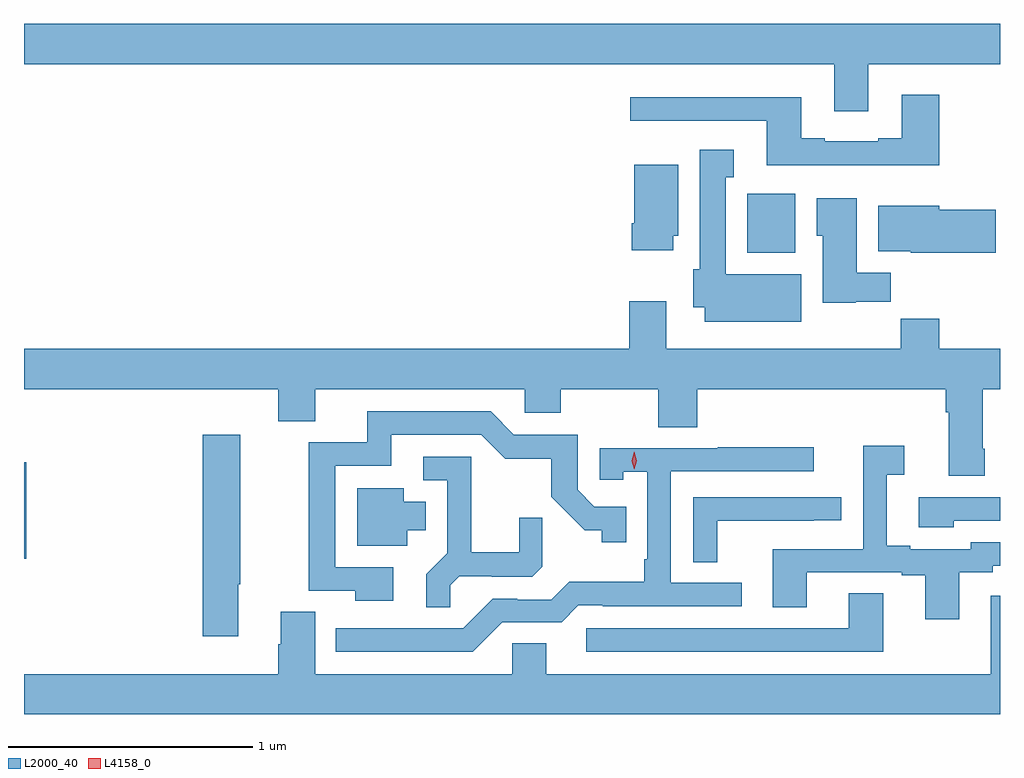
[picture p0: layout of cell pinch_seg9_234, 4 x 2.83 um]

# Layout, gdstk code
import gdstk
lib = gdstk.Library(unit=1e-6, precision=1e-09)
def R(c, l, rs):  # rectangles x0, y0, x1, y1
    for r in rs: c.add(gdstk.rectangle(r[:2], r[2:], *l))
def P(c, l, *ps):  # polygons
    for p in ps: c.add(gdstk.Polygon(p, *l))
L2000_40 = (2000, 40)
L4158_0 = (4158, 0)

pinch_seg9_234 = lib.new_cell('pinch_seg9_234')
R(pinch_seg9_234, L2000_40, [(431.684,1221.033,431.693,1221.427), (434.648,1222.286,434.845,1222.528)])
P(pinch_seg9_234, L2000_40, [(435.145,1223.06),(435.684,1223.06),(435.684,1223.224),(431.684,1223.224),(431.684,1223.06),(435.005,1223.06),(435.005,1222.866),(435.145,1222.866)],
  [(435.434,1222.933),(435.281,1222.933),(435.281,1222.756),(435.185,1222.756),(435.185,1222.743),(434.965,1222.743),(434.965,1222.756),(434.869,1222.756),(434.869,1222.924),(434.169,1222.924),(434.169,1222.827),(434.729,1222.827),(434.729,1222.646),(435.434,1222.646)],
  [(434.869,1222.198),(434.56,1222.198),(434.56,1222.595),(434.593,1222.595),(434.593,1222.708),(434.453,1222.708),(434.453,1222.218),(434.426,1222.218),(434.426,1222.064),(434.474,1222.064),(434.474,1222.004),(434.869,1222.004)],
  [(434.344,1222.356),(434.365,1222.356),(434.365,1222.648),(434.186,1222.648),(434.186,1222.408),(434.174,1222.408),(434.174,1222.296),(434.344,1222.296)],
  [(435.093,1222.086),(435.236,1222.086),(435.236,1222.204),(435.097,1222.204),(435.097,1222.51),(434.933,1222.51),(434.933,1222.356),(434.957,1222.356),(434.957,1222.082),(435.093,1222.082)],
  [(435.667,1222.463),(435.436,1222.463),(435.436,1222.48),(435.185,1222.48),(435.185,1222.292),(435.318,1222.292),(435.318,1222.286),(435.667,1222.286)],
  [(435.621,1221.484),(435.613,1221.484),(435.613,1221.728),(435.684,1221.728),(435.684,1221.892),(435.434,1221.892),(435.434,1222.016),(435.277,1222.016),(435.277,1221.892),(434.317,1221.892),(434.317,1222.087),(434.165,1222.087),(434.165,1221.892),(431.684,1221.892),(431.684,1221.728),(432.725,1221.728),(432.725,1221.595),(432.877,1221.595),(432.877,1221.728),(433.737,1221.728),(433.737,1221.63),(433.884,1221.63),(433.884,1221.728),(434.284,1221.728),(434.284,1221.571),(434.444,1221.571),(434.444,1221.728),(435.461,1221.728),(435.461,1221.632),(435.473,1221.632),(435.473,1221.372),(435.621,1221.372)],
  [(433.198,1220.997),(432.96,1220.997),(432.96,1221.414),(433.189,1221.414),(433.189,1221.54),(433.557,1221.54),(433.656,1221.442),(433.845,1221.442),(433.845,1221.286),(433.982,1221.149),(434.052,1221.149),(434.052,1221.099),(434.153,1221.099),(434.153,1221.246),(434.022,1221.246),(433.953,1221.315),(433.953,1221.54),(433.692,1221.54),(433.596,1221.636),(433.091,1221.636),(433.091,1221.51),(432.852,1221.51),(432.852,1220.901),(433.042,1220.901),(433.042,1220.861),(433.198,1220.861)],
  [(432.562,1220.927),(432.57,1220.927),(432.57,1221.541),(432.416,1221.541),(432.416,1220.715),(432.562,1220.715)],
  [(435.517,1220.976),(435.654,1220.976),(435.654,1221.003),(435.684,1221.003),(435.684,1221.099),(435.564,1221.099),(435.564,1221.072),(435.316,1221.072),(435.316,1221.085),(435.22,1221.085),(435.22,1221.376),(435.292,1221.376),(435.292,1221.496),(435.123,1221.496),(435.123,1221.072),(434.753,1221.072),(434.753,1220.833),(434.893,1220.833),(434.893,1220.976),(435.281,1220.976),(435.281,1220.964),(435.377,1220.964),(435.377,1220.784),(435.517,1220.784)],
  [(433.644,1220.772),(433.887,1220.772),(433.956,1220.841),(434.056,1220.841),(434.056,1220.838),(434.626,1220.838),(434.626,1220.934),(434.334,1220.934),(434.334,1221.39),(434.92,1221.39),(434.92,1221.489),(434.527,1221.489),(434.527,1221.486),(434.043,1221.486),(434.043,1221.357),(434.139,1221.357),(434.139,1221.389),(434.238,1221.389),(434.238,1221.031),(434.226,1221.031),(434.226,1220.938),(433.918,1220.938),(433.845,1220.865),(433.706,1220.865),(433.706,1220.868),(433.605,1220.868),(433.485,1220.748),(432.962,1220.748),(432.962,1220.652),(433.524,1220.652)],
  [(433.431,1220.924),(433.468,1220.961),(433.602,1220.961),(433.602,1220.958),(433.767,1220.958),(433.808,1220.999),(433.808,1221.201),(433.714,1221.201),(433.714,1221.058),(433.517,1221.058),(433.517,1221.45),(433.32,1221.45),(433.32,1221.354),(433.419,1221.354),(433.419,1221.055),(433.333,1220.969),(433.333,1220.833),(433.431,1220.833)],
  [(433.255,1221.149),(433.33,1221.149),(433.33,1221.265),(433.24,1221.265),(433.24,1221.322),(433.049,1221.322),(433.049,1221.086),(433.255,1221.086)],
  [(435.495,1221.189),(435.684,1221.189),(435.684,1221.285),(435.351,1221.285),(435.351,1221.161),(435.495,1221.161)],
  [(434.526,1221.189),(434.921,1221.189),(434.921,1221.19),(435.034,1221.19),(435.034,1221.285),(434.427,1221.285),(434.427,1221.019),(434.526,1221.019)],
  [(435.205,1220.891),(435.065,1220.891),(435.065,1220.748),(433.989,1220.748),(433.989,1220.652),(435.205,1220.652)],
  [(435.684,1220.881),(435.647,1220.881),(435.647,1220.56),(433.825,1220.56),(433.825,1220.687),(433.686,1220.687),(433.686,1220.56),(432.877,1220.56),(432.877,1220.816),(432.737,1220.816),(432.737,1220.682),(432.725,1220.682),(432.725,1220.56),(431.684,1220.56),(431.684,1220.396),(435.684,1220.396)])
P(pinch_seg9_234, L4158_0, [(434.185,1221.399),(434.185,1221.399),(434.175,1221.435),(434.185,1221.47),(434.185,1221.471),(434.186,1221.47),(434.195,1221.435),(434.186,1221.399)])

lib.write_gds('pinch_seg9_234.gds')
